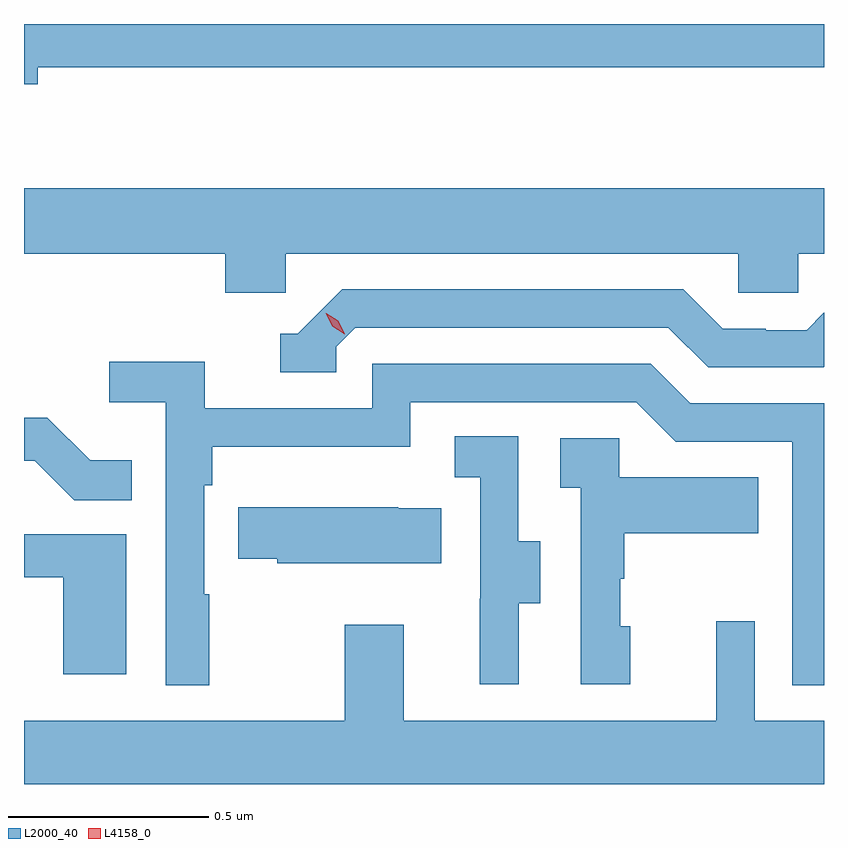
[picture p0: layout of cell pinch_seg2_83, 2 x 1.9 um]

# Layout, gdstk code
import gdstk
lib = gdstk.Library(unit=1e-6, precision=1e-09)
def P(c, l, *ps):  # polygons
    for p in ps: c.add(gdstk.Polygon(p, *l))
L2000_40 = (2000, 40)
L4158_0 = (4158, 0)

pinch_seg2_83 = lib.new_cell('pinch_seg2_83')
P(pinch_seg2_83, L2000_40, [(1077.034,650.766),(1079,650.766),(1079,650.874),(1077,650.874),(1077,650.723),(1077.034,650.723)],
  [(1077.654,650.3),(1078.785,650.3),(1078.785,650.202),(1078.935,650.202),(1078.935,650.3),(1079,650.3),(1079,650.464),(1077,650.464),(1077,650.3),(1077.503,650.3),(1077.503,650.202),(1077.654,650.202)],
  [(1077.78,650.067),(1077.828,650.115),(1078.611,650.115),(1078.71,650.016),(1078.999,650.016),(1079,650.017),(1079,650.152),(1078.999,650.152),(1078.957,650.109),(1078.854,650.109),(1078.854,650.112),(1078.747,650.112),(1078.648,650.211),(1077.795,650.211),(1077.684,650.1),(1077.641,650.1),(1077.641,650.004),(1077.78,650.004)],
  [(1077.463,649.448),(1077.45,649.448),(1077.45,649.721),(1077.47,649.721),(1077.47,649.817),(1077.966,649.817),(1077.966,649.929),(1078.53,649.929),(1078.629,649.83),(1078.92,649.83),(1078.92,649.221),(1079,649.221),(1079,649.926),(1078.666,649.926),(1078.567,650.025),(1077.87,650.025),(1077.87,649.914),(1077.452,649.914),(1077.452,650.03),(1077.213,650.03),(1077.213,649.928),(1077.354,649.928),(1077.354,649.221),(1077.463,649.221)],
  [(1077.269,649.783),(1077.165,649.783),(1077.058,649.89),(1077,649.89),(1077,649.782),(1077.027,649.782),(1077.125,649.684),(1077.269,649.684)],
  [(1078.237,649.426),(1078.291,649.426),(1078.291,649.581),(1078.236,649.581),(1078.236,649.844),(1078.077,649.844),(1078.077,649.741),(1078.14,649.741),(1078.14,649.437),(1078.139,649.437),(1078.139,649.224),(1078.237,649.224)],
  [(1078.516,649.368),(1078.491,649.368),(1078.491,649.487),(1078.501,649.487),(1078.501,649.601),(1078.835,649.601),(1078.835,649.741),(1078.488,649.741),(1078.488,649.839),(1078.341,649.839),(1078.341,649.715),(1078.392,649.715),(1078.392,649.224),(1078.516,649.224)],
  [(1078.043,649.663),(1077.935,649.663),(1077.935,649.666),(1077.535,649.666),(1077.535,649.537),(1077.633,649.537),(1077.633,649.526),(1078.043,649.526)],
  [(1077.256,649.599),(1077,649.599),(1077,649.491),(1077.098,649.491),(1077.098,649.248),(1077.256,649.248)],
  [(1079,649.132),(1078.827,649.132),(1078.827,649.381),(1078.73,649.381),(1078.73,649.132),(1077.949,649.132),(1077.949,649.372),(1077.802,649.372),(1077.802,649.132),(1077,649.132),(1077,648.974),(1079,648.974)])
P(pinch_seg2_83, L4158_0, [(1077.802,650.099),(1077.771,650.118),(1077.754,650.151),(1077.754,650.151),(1077.755,650.151),(1077.786,650.132),(1077.802,650.099),(1077.802,650.099)])

lib.write_gds('pinch_seg2_83.gds')
